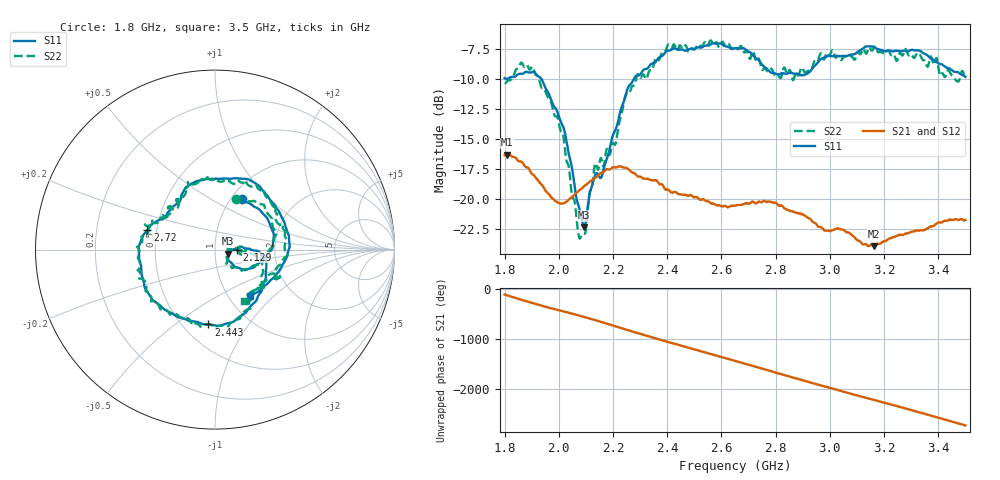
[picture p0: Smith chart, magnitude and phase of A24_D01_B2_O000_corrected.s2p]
! Created with skrf 1.9.0 (http://scikit-rf.org).
# Hz S RI R 50.0
!freq ReS11 ImS11 ReS21 ImS21 ReS12 ImS12 ReS22 ImS22
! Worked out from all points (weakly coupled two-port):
!   1601 points, 1.8 GHz to 3.5 GHz, reference 50 ohm
!   highest |S21| = -16.32 dB at 1.81 GHz (marker M1); lowest = -24.0 dB at 3.163 GHz (marker M2)
!   lowest |S11| = -22.4 dB at 2.093 GHz (marker M3), VSWR 1.16, Z = 57.8 - j2.67 ohm
!   |S11| at or under -10 dB: 1.936 GHz to 2.277 GHz (340.8 MHz wide, 16.2 % of centre)
!   |S22| runs from -23.3 to -6.8 dB; largest |S21 - S12| = 0.0029
!   S11 on the Smith chart (normalised r, x): 1.8 GHz: 1.12, +0.70; 2.129 GHz: 1.28, +0.00; 2.443 GHz: 0.66, -0.67; 2.72 GHz: 0.44, +0.11; 3.5 GHz: 1.26, -0.72
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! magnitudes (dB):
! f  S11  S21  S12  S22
! 1.8 GHz  -9.9  -16.4  -16.4  -10.3
! 1.81 GHz  -10.0  -16.3  -16.3  -10.2
! 1.901 GHz  -9.4  -17.9  -17.9  -9.0
! 1.967 GHz  -11.4  -19.7  -19.8  -11.7
! 2.02 GHz  -14.3  -20.4  -20.4  -15.3
! 2.072 GHz  -20.5  -19.4  -19.4  -22.9
! 2.084 GHz  -21.6  -19.2  -19.1  -23.1
! 2.093 GHz  -22.4  -18.9  -19.0  -22.9
! 2.129 GHz  -18.3  -18.3  -18.3  -17.7
! 2.159 GHz  -18.1  -17.8  -17.8  -16.8
! 2.208 GHz  -14.3  -17.4  -17.4  -15.5
! 2.258 GHz  -10.6  -17.5  -17.5  -11.3
! 2.367 GHz  -8.3  -18.7  -18.6  -8.4
! 2.443 GHz  -7.6  -19.6  -19.6  -7.3
! 2.65 GHz  -7.4  -20.6  -20.5  -7.3
! 2.72 GHz  -8.1  -20.3  -20.2  -7.9
! 2.81 GHz  -9.6  -20.6  -20.5  -9.8
! 2.934 GHz  -9.2  -21.9  -21.8  -9.1
! 3.163 GHz  -7.3  -24.0  -23.9  -7.3
! 3.217 GHz  -7.6  -23.3  -23.3  -7.6
! 3.33 GHz  -7.6  -22.6  -22.7  -7.9
! 3.5 GHz  -9.8  -21.8  -21.8  -9.6
